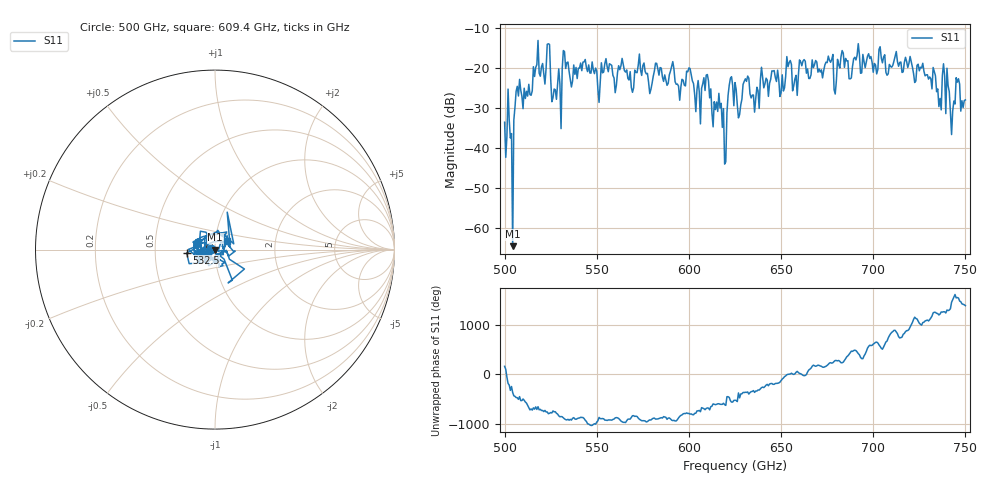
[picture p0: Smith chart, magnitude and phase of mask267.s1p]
!Created with skrf (http://scikit-rf.org).
# GHz S MA R 50.0
!freq magS11 angS11
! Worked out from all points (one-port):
!   401 points, 500 GHz to 750 GHz, reference 50 ohm
!   lowest |S11| = -64.7 dB at 504.4 GHz (marker M1), VSWR 1.00, Z = 50.1 - j0.00198 ohm
!   |S11| at or under -10 dB: start of sweep to end of sweep
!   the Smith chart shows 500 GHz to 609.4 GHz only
!   S11 on the Smith chart (normalised r, x): 500 GHz: 0.96, +0.01; 532.5 GHz: 0.73, -0.03; 609.4 GHz: 1.13, +0.11
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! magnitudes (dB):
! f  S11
! 500 GHz  -33.6
! 502.5 GHz  -33.1
! 504.4 GHz  -64.7
! 506.9 GHz  -24.7
! 513.8 GHz  -26.7
! 516.9 GHz  -19.9
! 523.8 GHz  -14.0
! 526.9 GHz  -25.3
! 531.2 GHz  -20.3
! 532.5 GHz  -16.0
! 550.6 GHz  -25.4
! 562.5 GHz  -20.5
! 593.8 GHz  -24.1
! 600 GHz  -20.0
! 605 GHz  -23.2
! 609.4 GHz  -21.9
! 619.4 GHz  -44.1
! 622.5 GHz  -22.7
! 625 GHz  -23.7
! 656.2 GHz  -25.8
! 687.5 GHz  -22.8
! 691.2 GHz  -16.9
! 718.8 GHz  -19.9
! 735.6 GHz  -29.7
! 738.8 GHz  -22.0
! 743.1 GHz  -30.8
! 745.6 GHz  -23.6
! 750 GHz  -28.1
